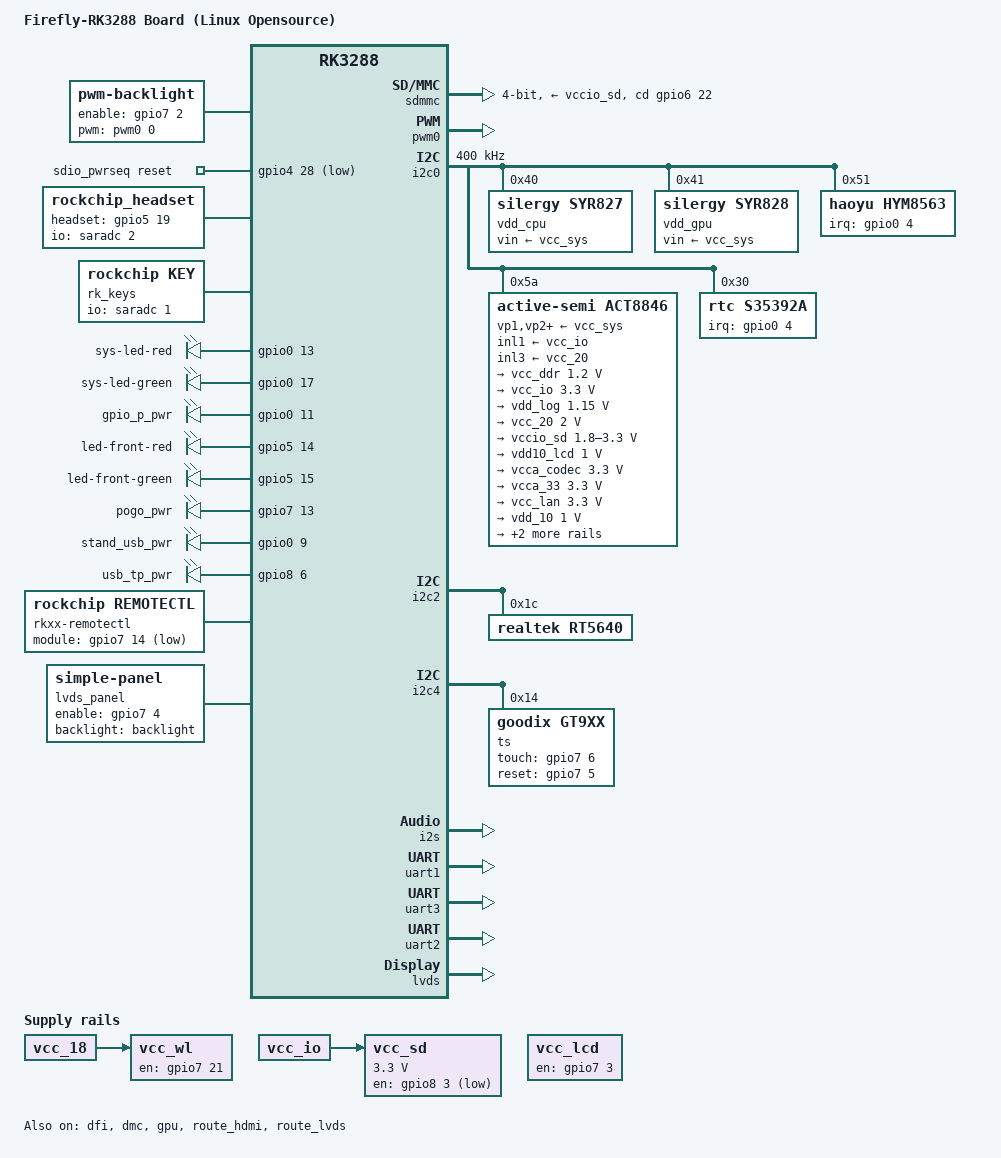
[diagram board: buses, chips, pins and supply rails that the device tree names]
/*
 * Copyright (c) 2015~2017 Fuzhou Rockchip Electronics Co., Ltd
 *
 * This file is dual-licensed: you can use it either under the terms
 * of the GPL or the X11 license, at your option. Note that this dual
 * licensing only applies to this file, and not this project as a
 * whole.
 *
 *  a) This file is free software; you can redistribute it and/or
 *     modify it under the terms of the GNU General Public License as
 *     published by the Free Software Foundation; either version 2 of the
 *     License, or (at your option) any later version.
 *
 *     This file is distributed in the hope that it will be useful,
 *     but WITHOUT ANY WARRANTY; without even the implied warranty of
 *     MERCHANTABILITY or FITNESS FOR A PARTICULAR PURPOSE.  See the
 *     GNU General Public License for more details.
 *
 * Or, alternatively,
 *
 *  b) Permission is hereby granted, free of charge, to any person
 *     obtaining a copy of this software and associated documentation
 *     files (the "Software"), to deal in the Software without
 *     restriction, including without limitation the rights to use,
 *     copy, modify, merge, publish, distribute, sublicense, and/or
 *     sell copies of the Software, and to permit persons to whom the
 *     Software is furnished to do so, subject to the following
 *     conditions:
 *
 *     The above copyright notice and this permission notice shall be
 *     included in all copies or substantial portions of the Software.
 *
 *     THE SOFTWARE IS PROVIDED "AS IS", WITHOUT WARRANTY OF ANY KIND,
 *     EXPRESS OR IMPLIED, INCLUDING BUT NOT LIMITED TO THE WARRANTIES
 *     OF MERCHANTABILITY, FITNESS FOR A PARTICULAR PURPOSE AND
 *     NONINFRINGEMENT. IN NO EVENT SHALL THE AUTHORS OR COPYRIGHT
 *     HOLDERS BE LIABLE FOR ANY CLAIM, DAMAGES OR OTHER LIABILITY,
 *     WHETHER IN AN ACTION OF CONTRACT, TORT OR OTHERWISE, ARISING
 *     FROM, OUT OF OR IN CONNECTION WITH THE SOFTWARE OR THE USE OR
 *     OTHER DEALINGS IN THE SOFTWARE.
 */

/dts-v1/;
#include "rk3288-firefly-port_10P.dtsi"
#include "rk3288-linux.dtsi"
//#include <dt-bindings/sensor-dev.h>
#include <dt-bindings/display/media-bus-format.h>

/ {
	model = "Firefly-RK3288 Board (Linux Opensource)";
	compatible = "rockchip,rk3288-firefly", "rockchip,rk3288";

	backlight: backlight {
		compatible = "pwm-backlight";
		status = "okay";
		brightness-levels = </*
			  0   1   2   3   4   5   6   7
			  8   9  10  11  12  13  14  15
			 16  17  18  19  20  21  22  23
			 24  25  26  27  28  29  30  31
			 32  33  34  35*/36  37  38  39
			 40  41  42  43  44  45  46  47
			 48  49  50  51  52  53  54  55
			 56  57  58  59  60  61  62  63
			 64  65  66  67  68  69  70  71
			 72  73  74  75  76  77  78  79
			 80  81  82  83  84  85  86  87
			 88  89  90  91  92  93  94  95
			 96  97  98  99 100 101 102 103
			104 105 106 107 108 109 110 111
			112 113 114 115 116 117 118 119
			120 121 122 123 124 125 126 127
			128 129 130 131 132 133 134 135
			136 137 138 139 140 141 142 143
			144 145 146 147 148 149 150 151
			152 153 154 155 156 157 158 159
			160 161 162 163 164 165 166 167
			168 169 170 171 172 173 174 175
			176 177 178 179 180 181 182 183
			184 185 186 187 188 189 190 191
			192 193 194 195 196 197 198 199
			200 201 202 203 204 205 206 207
			208 209 210 211 212 213 214 215
			216 217 218 219 220 221 222 223
			224 225 226 227 228 229 230 231
			232 233 234 235 236 237 238 239
			240 241 242 243 244 245 246 247
			248 249 250 251 252 253 254 255>;
		default-brightness-level = <200>;
		enable-gpios = <&gpio7 2 GPIO_ACTIVE_HIGH>;
		pinctrl-names = "default";
		pinctrl-0 = <&bl_en>;
		pwms = <&pwm0 0 1000000 PWM_POLARITY_INVERTED>;
	};

	sdio_pwrseq: sdio-pwrseq {
		compatible = "mmc-pwrseq-simple";
		clocks = <&hym8563>;
		clock-names = "ext_clock";
		pinctrl-names = "default";
		pinctrl-0 = <&wifi_enable_h>;

		/*
		 * On the module itself this is one of these (depending
		 * on the actual card populated):
		 * - SDIO_RESET_L_WL_REG_ON
		 * - PDN (power down when low)
		 */
		reset-gpios = <&gpio4 28 GPIO_ACTIVE_LOW>;
	};

	rt5640-sound {
		compatible = "rockchip,rockchip-rt5640-sound";
		rockchip,cpu = <&i2s>;
		rockchip,codec = <&rt5640 &rt5640 &hdmi>;
		status = "okay";
	};

/*	sound: sound {
		status = "okay";
		compatible = "simple-audio-card";
		simple-audio-card,format = "i2s";
		simple-audio-card,name = "rockchip,rt5640-codec";
		simple-audio-card,mclk-fs = <512>;
		simple-audio-card,widgets =
			"Microphone", "Mic Jack",
			"Headphone", "Headphone Jack",
			"Speaker", "Speaker";
		simple-audio-card,routing =
			"Mic Jack", "MICBIAS1",
			"IN2P", "Mic Jack",
			"IN2N", "Mic Jack",
			"Headphone Jack", "HPOL",
			"Headphone Jack", "HPOR",
			"Speaker", "SPOLP",
			"Speaker", "SPOLN",
			"Speaker", "SPORP",
			"Speaker", "SPORN";			
		simple-audio-card,cpu {
			sound-dai = <&i2s>;
		};
		
		simple-audio-card,codec {
			sound-dai = <&rt5640>;
		};

		simple-audio-card,dai-link@0 {
			format = "i2s";
			cpu {
				sound-dai = <&i2s>;
			};

			codec {
				sound-dai = <&rt5640>;
			};
		};

		simple-audio-card,dai-link@1 {
			format = "i2s";
			cpu {
				sound-dai = <&i2s>;
			};

			codec {
				sound-dai = <&hdmi>;
			};
		};
	};*/

	rockchip_headset {
		status = "okay";
		compatible = "rockchip_headset";
		headset_gpio = <&gpio5 19 GPIO_ACTIVE_HIGH>;
		pinctrl-names = "default";
		pinctrl-0 = <&hp_det>;
		io-channels = <&saradc 2>; 
    // hook_gpio = ;
    // hook_down_type = ; //interrupt hook key down status      
   };
	/*rk_keys{
		status = "okay";
		compatible = "rockchip,key";
		io-channels = <&saradc 1>;


		power-key {
			gpios = <&gpio0 5 GPIO_ACTIVE_LOW>;
			linux,code = <116>;
			pinctrl-names = "default";
			pinctrl-0 = <&pwrbtn>;
			label = "power";
			gpio-key,wakeup;
		};
	
	
	};*/

	/*spdif_out: spdif-out {
		status = "okay";
		compatible = "linux,spdif-dit";
		#sound-dai-cells = <0>;
	};
	spdif-sound {
		status = "okay";
		compatible = "simple-audio-card";
		simple-audio-card,name = "ROCKCHIP,SPDIF";
		simple-audio-card,cpu {
			sound-dai = <&spdif>;
		};

		simple-audio-card,codec {
			sound-dai = <&spdif_out>;
		};
	};*/
		vcc_lcd: vcc-lcd {
		compatible = "regulator-fixed";
		enable-active-high;
		gpio = <&gpio7 3 GPIO_ACTIVE_HIGH>;
		//pinctrl-names = "default";
		//pinctrl-0 = <&lcd_en>;
		regulator-always-on;
		regulator-boot-on;
		regulator-name = "vcc_lcd";
		//vin-supply = <&vcc_io>;
	};
	vcc_wl: vcc-wl {
		status = "okay";
		compatible = "regulator-fixed";
		enable-active-high;
		gpio = <&gpio7 21 GPIO_ACTIVE_HIGH>;
		pinctrl-names = "default";
		pinctrl-0 = <&wifi_pwr>;
		regulator-name = "vcc_wl";
		vin-supply = <&vcc_18>;
	};
	
	vcc_sd: sdmmc-regulator {
		compatible = "regulator-fixed";
		pinctrl-names = "default";
		gpio = <&gpio8 3 GPIO_ACTIVE_HIGH>;
		pinctrl-0 = <&sdmmc_pwr>;
		regulator-name = "vcc_sd";
		regulator-min-microvolt = <3300000>;
		regulator-max-microvolt = <3300000>;
		startup-delay-us = <100000>;
		vin-supply = <&vcc_io>;
	};
	rk_keys{
		status = "okay";
		compatible = "rockchip,key";
		io-channels = <&saradc 1>;

		//vol-up-key {
		right-key {
			//linux,code = <115>;
			//label = "volume up";
			linux,code = <106>;
			label = "right";
			rockchip,adc_value = <93>;
		};

		//vol-down-key {
		left-key {
			//linux,code = <114>;
			//label = "volume down";
			linux,code = <105>;
			label = "left";
			rockchip,adc_value = <170>;
		};

		

		up-key {
			linux,code = <103>;
			label = "up";
			rockchip,adc_value = <327>;
		};

		down-key {
			linux,code = <108>;
			label = "down";
			rockchip,adc_value = <415>;
		};

		//back-key {
		esc-key {
			//linux,code = <158>;
			linux,code = <1>;//exit
			linux,code_long_press = <28>;	// Enter
			//linux,code_very_long_press = <250>;	// SHUTDOWN
			//label = "back";
			label = "exit";
			rockchip,adc_value = <489>;
		};
	};
	gpio-leds {
	        compatible = "gpio-leds";
	        pinctrl-names = "default";
		
		// SYS POWER LED
	        sys-led-red {
	            label = "sys-led-red";
	            gpios = <&gpio0 13 GPIO_ACTIVE_HIGH>;
		    			default-state = "off";
	        };

	        sys-led-green {
	            label = "sys-led-green";
	            gpios = <&gpio0 17 GPIO_ACTIVE_HIGH>;
		    			default-state = "on";
	        };
		
		//GPIO-P_EN
		gpio_p_pwr {
	            label = "gpio_p_pwr";
	            gpios = <&gpio0 11 GPIO_ACTIVE_HIGH>;
		    default-state = "on";
	        };
	
		//GPO1
		led-front-red {
	            label = "led-front-red";
	            gpios = <&gpio5 14 GPIO_ACTIVE_HIGH>;
		    default-state = "on";
	        };
		//GPO2
		led-front-green {
	            label = "led-front-green";
	            gpios = <&gpio5 15 GPIO_ACTIVE_HIGH>;
		    default-state = "on";
	        };
	
		//USB_IO_CTL
		pogo_pwr {
	            label = "pogo_pwr";
	            gpios = <&gpio7 13 GPIO_ACTIVE_HIGH>;
		    default-state = "on";
	        };
	
		//Stand_USB
		stand_usb_pwr {
	            label = "stand_usb_pwr";
	            gpios = <&gpio0 9 GPIO_ACTIVE_HIGH>;
		    default-state = "on";
	        };
		
		//USB_TP
		usb_tp_pwr {
            		label = "usb_tp_pwr";
            		gpios = <&gpio8 6 GPIO_ACTIVE_HIGH>;
	   		default-state = "on";
        	};
	
	};
	rkxx-remotectl{
	        compatible = "rockchip,remotectl";
	        module-gpios = <&gpio7 14 GPIO_ACTIVE_LOW>;
	        status = "okay";
    	};

};

&sdmmc {
	clock-frequency = <50000000>;
	supports-sd;
	bus-width = <4>;
	cap-mmc-highspeed; 
	cap-sd-highspeed;
	//sd-uhs-sdr104;
	cd-gpios = <&gpio6 22 GPIO_ACTIVE_HIGH>;/*CD GPIO*/
	broken-cd;
	card-detect-delay = <200>;
	vqmmc-supply = <&vcc_sd>;
	vmmc-supply = <&vccio_sd>;
	ignore-pm-notify;
  	keep-power-in-suspend;
	pinctrl-names = "default";
	pinctrl-0 = <&sdmmc_clk &sdmmc_cmd &sdmmc_cd &sdmmc_bus4>;
	status = "okay";
};

/*&spdif {
	status = "okay";
};*/

&cpu0 {
	cpu-supply = <&vdd_cpu>;
};

&dfi {
	status = "okay";
};

&dmc {	
	vop-dclk-mode = <1>;
	center-supply = <&vdd_log>;
	status = "okay";
};

&gpu {
	status = "okay";
	mali-supply = <&vdd_gpu>;
};

&pwm0 {
	status = "okay";
};

&i2c0 {
	clock-frequency = <400000>;

	vdd_cpu: syr827@40 {
		compatible = "silergy,syr827";
		fcs,suspend-voltage-selector = <1>;
		reg = <0x40>;
		regulator-name = "vdd_cpu";
		regulator-min-microvolt = <850000>;
		regulator-max-microvolt = <1500000>;
		regulator-always-on;
		regulator-boot-on;
		regulator-enable-ramp-delay = <300>;
		regulator-ramp-delay = <8000>;
		vin-supply = <&vcc_sys>;
		regulator-state-mem {
			regulator-off-in-suspend;
		};
	};

	vdd_gpu: syr828@41 {
		compatible = "silergy,syr828";
		fcs,suspend-voltage-selector = <1>;
		reg = <0x41>;
		regulator-name = "vdd_gpu";
		regulator-min-microvolt = <850000>;
		regulator-max-microvolt = <1500000>;
		regulator-always-on;
		regulator-ramp-delay = <6000>;
		vin-supply = <&vcc_sys>;
		regulator-state-mem {
			regulator-off-in-suspend;
		};
	};

	hym8563: hym8563@51 {
		compatible = "haoyu,hym8563";
		reg = <0x51>;

		interrupt-parent = <&gpio0>;
		interrupts = <4 IRQ_TYPE_EDGE_FALLING>;

		pinctrl-names = "default";
		pinctrl-0 = <&rtc_int>;

		#clock-cells = <0>;
		clock-output-names = "xin32k";
	};

	act8846: act8846@5a {
		compatible = "active-semi,act8846";
		reg = <0x5a>;
		status = "okay";
		system-power-controller;

		vp1-supply = <&vcc_sys>;
		vp2-supply = <&vcc_sys>;
		vp3-supply = <&vcc_sys>;
		vp4-supply = <&vcc_sys>;
		inl1-supply = <&vcc_io>;
		inl2-supply = <&vcc_sys>;
		inl3-supply = <&vcc_20>;

		regulators {
			vcc_ddr: REG1 {
				regulator-name = "vcc_ddr";
				regulator-min-microvolt = <1200000>;
				regulator-max-microvolt = <1200000>;
				regulator-always-on;
			};

			vcc_io: REG2 {
				regulator-name = "vcc_io";
				regulator-min-microvolt = <3300000>;
				regulator-max-microvolt = <3300000>;
				regulator-always-on;
			};

			vdd_log: REG3 {
				regulator-name = "vdd_log";
				regulator-min-microvolt = <1150000>;
				regulator-max-microvolt = <1150000>;
				regulator-always-on;
			};

			vcc_20: REG4 {
				regulator-name = "vcc_20";
				regulator-min-microvolt = <2000000>;
				regulator-max-microvolt = <2000000>;
				regulator-always-on;
			};

			vccio_sd: REG5 {
				regulator-name = "vccio_sd";
				regulator-min-microvolt = <1800000>;
				regulator-max-microvolt = <3300000>;
				regulator-always-on;
			};

			vdd10_lcd: REG6 {
				regulator-name = "vdd10_lcd";
				regulator-min-microvolt = <1000000>;
				regulator-max-microvolt = <1000000>;
				regulator-always-on;
			};

			vcca_codec: REG7 {
				regulator-name = "vcca_codec";
				regulator-min-microvolt = <3300000>;
				regulator-max-microvolt = <3300000>;
				regulator-always-on;
			};

			vcca_33: REG8 {
				regulator-name = "vcca_33";
				regulator-min-microvolt = <3300000>;
				regulator-max-microvolt = <3300000>;
				regulator-always-on;
			};

			vcc_lan: REG9 {
				regulator-name = "vcc_lan";
				regulator-min-microvolt = <3300000>;
				regulator-max-microvolt = <3300000>;
				regulator-always-on;
			};

			vdd_10: REG10 {
				regulator-name = "vdd_10";
				regulator-min-microvolt = <1000000>;
				regulator-max-microvolt = <1000000>;
				regulator-always-on;
			};

			vcc_18: REG11 {
				regulator-name = "vcc_18";
				regulator-min-microvolt = <1800000>;
				regulator-max-microvolt = <1800000>;
				regulator-always-on;
			};

			vcc18_lcd: REG12 {
				regulator-name = "vcc18_lcd";
				regulator-min-microvolt = <1800000>;
				regulator-max-microvolt = <1800000>;
				regulator-always-on;
			};
		};
	};

	rtc@30 {
		status = "okay";
		compatible = "rtc,s35392a";
		reg = <0x30>;
		irq_gpio = <&gpio0 4 IRQ_TYPE_EDGE_FALLING>;
	};
};

&i2c2 {
	status = "okay";
	rt5640: rt5640@1c {
		#sound-dai-cells = <0>;
		compatible = "realtek,rt5640";
		reg = <0x1c>;
		clocks = <&cru SCLK_I2S0_OUT>;
		//clocks = <&cru SCLK_I2S_8CH_OUT>;
		clock-names = "mclk";
		pinctrl-names = "default";
		pinctrl-0 = <&i2s0_mclk>;
		realtek,in1-differential;
		realtek,in2-differential;
		//hp-det-gpio = <&gpio5 19 GPIO_ACTIVE_LOW>;
	 	//io-channels = <&saradc 2>;
	 	//hp-det-adc-value = <500>;
		status = "okay";		
	};
};

&i2c4 {
	status = "okay";

	ts@14 {
		compatible = "goodix,gt9xx";
		reg = <0x14>;
		//touch-gpio = <&gpio7 6 IRQ_TYPE_EDGE_RISING>;
		touch-gpio = <&gpio7 6 IRQ_TYPE_EDGE_FALLING>;
		reset-gpio = <&gpio7 5 GPIO_ACTIVE_HIGH>;
		max-x = <1280>;
		max-y = <800>;
		tp-size = <928>;
	};
};


&i2s {
	status = "okay";
	rockchip,i2s-broken-burst-len;
	rockchip,playback-channels = <8>;
	rockchip,capture-channels = <2>;
	#sound-dai-cells = <0>;
};
/*
&rga {
	status = "okay";
};*/

&route_hdmi {
	status = "okay";
};

&route_lvds {
	status = "okay";
};
/*
&sound {
	status = "okay";
};
*/

&uart1 {
	status = "okay";
};
&uart3 {
	status = "okay";
};

&uart2 {
	status = "okay";
};

&hdmi_in_vopl {
	status = "disabled";
};

&lvds_in_vopb {
	status = "disabled";
};

&lvds {
	status = "okay";
};

&lvds_panel {
	status = "okay";
	compatible ="simple-panel";
	//power-supply = <&vcc_lcd>;
	backlight = <&backlight>;
	bus-format = <MEDIA_BUS_FMT_RGB888_1X24>;
	enable-gpios = <&gpio7 4 GPIO_ACTIVE_HIGH>;
	enable-delay-ms = <10>;
	rockchip,data-mapping = "vesa";
	rockchip,data-width = <24>;
	rockchip,output = "lvds";
	//pinctrl-0 = <&lcd_cs>;
	display-timings {
		native-mode = <&timing0>;
		timing0: timing0 {
			//screen-type = <SCREEN_LVDS>;
			//lvds-format = <LVDS_8BIT_1>;
			//out-face    = <OUT_P888>;
			clock-frequency = <68900000>;/*65000000 66100000 44100000 33000000*/
			hactive = <1280>;
			vactive = <800>;
			hback-porch = <30>;
			hfront-porch = <80>;
			vback-porch = <4>;
			vfront-porch = <8>;
			hsync-len = <20>;
			vsync-len = <3>;
			hsync-active = <0>;
			vsync-active = <0>;
			de-active = <0>;
			pixelclk-active = <0>;
		};
	};
};

&rockchip_suspend {
	status = "okay";
};

&pinctrl {
	/*act8846 {
		pmic_vsel: pmic-vsel {
			rockchip,pins = <7 14 RK_FUNC_GPIO &pcfg_output_low>;
		};

		pwr_hold: pwr-hold {
			rockchip,pins = <0 6 RK_FUNC_GPIO &pcfg_output_high>;
		};
	};*/
	//used for init some gpio
	init-gpios = <&gpio8 3 GPIO_ACTIVE_HIGH
	   		&gpio7 1 GPIO_ACTIVE_HIGH
			&gpio0 10 GPIO_ACTIVE_LOW
			//&gpio5 GPIO_C1 GPIO_ACTIVE_LOW
			>;
	backlight {
		bl_en: bl-en {
			rockchip,pins = <7 2 RK_FUNC_GPIO &pcfg_pull_none>;
		};
	};

	headphone {
		hp_det: hp-det {
			rockchip,pins = <5 19 RK_FUNC_GPIO &pcfg_pull_up>;
		};
	};

	lcd {
		lcd_en: lcd-en  {
			rockchip,pins = <7 3 RK_FUNC_GPIO &pcfg_pull_none>;
		};
		lcd_cs: lcd-cs {
			rockchip,pins = <7 4 0 &pcfg_pull_none>;
		};
	   };
	
	wifi {
		wifi_pwr: wifi-pwr {
			rockchip,pins = <7 21 RK_FUNC_GPIO &pcfg_pull_none>;
		};
	};
};
